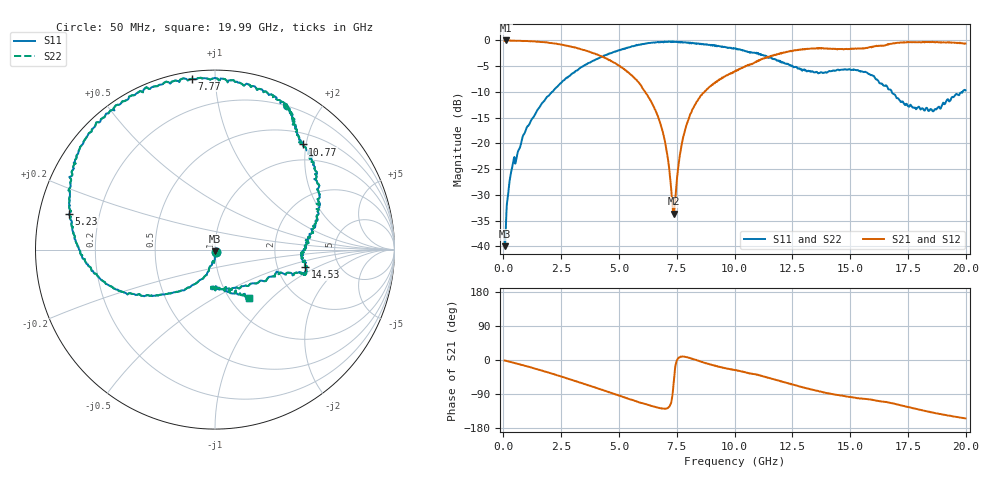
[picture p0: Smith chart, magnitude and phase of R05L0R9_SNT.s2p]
! 250R05L0R9CV4
! Data taken January 31, 2003
! Data taken on a HP 8720C VNA using a shunt-through test fixture and TRL* de-embedding
#	mhz	s	ma	r	50
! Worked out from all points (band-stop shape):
!   998 points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, 50 MHz to 19.99 GHz, reference 50 ohm
!   highest |S21| = 0.00 dB at 110 MHz (marker M1); lowest = -33.7 dB at 7.37 GHz (marker M2)
!   |S21| within 3 dB of the highest: start of sweep to 4.179 GHz; 11.59 GHz to end of sweep
!   lowest |S11| = -40.0 dB at 70 MHz (marker M3), VSWR 1.02, Z = 49.8 - j0.98 ohm
!   |S11| at or under -10 dB: start of sweep to 2.103 GHz; 16.81 GHz to 19.87 GHz (3.061 GHz wide, 16.7 % of centre)
!   |S22| runs from -40.0 to -0.2 dB; largest |S21 - S12| = 0
!   S11 on the Smith chart (normalised r, x): 50 MHz: 1.01, -0.02; 5.23 GHz: 0.09, +0.12; 7.77 GHz: 0.04, +0.87; 10.77 GHz: 0.69, +1.93; 14.53 GHz: 2.87, -0.76; 19.99 GHz: 1.23, -0.74
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50  0.01217 -72.9  0.9909 -1.3  0.9909 -1.3  0.01217 -72.9
70  0.01002 -101.1  0.9942 -1.5  0.9942 -1.5  0.01002 -101.1
110  0.01715 -91.0  1 -2.1  1 -2.1  0.01715 -91.0
390  0.0604 -93.1  0.9965 -6.7  0.9965 -6.7  0.0604 -93.1
970  0.1347 -108.2  0.9876 -15.8  0.9876 -15.8  0.1347 -108.2
1870  0.2805 -126.9  0.9559 -31.7  0.9559 -31.7  0.2805 -126.9
3390  0.5525 -154.0  0.8179 -61.0  0.8179 -61.0  0.5525 -154.0
5230  0.8362 166.2  0.5271 -98.5  0.5271 -98.5  0.8362 166.2
6710  0.9593 132.3  0.1761 -126.1  0.1761 -126.1  0.9593 132.3
7050  0.9744 121.9  0.08885 -128.2  0.08885 -128.2  0.9744 121.9
7370  0.9657 112.1  0.02067 -55.1  0.02067 -55.1  0.9657 112.1
7770  0.9609 97.6  0.113 9.0  0.113 9.0  0.9609 97.6
8150  0.9456 85.4  0.2068 4.3  0.2068 4.3  0.9456 85.4
8750  0.9175 69.2  0.3247 -8.6  0.3247 -8.6  0.9175 69.2
10030  0.8346 58.4  0.502 -26.6  0.502 -26.6  0.8346 58.4
10770  0.7624 50.2  0.5954 -36.4  0.5954 -36.4  0.7624 50.2
11910  0.6383 23.8  0.742 -54.4  0.742 -54.4  0.6383 23.8
13350  0.502 -0.2  0.8354 -78.6  0.8354 -78.6  0.502 -0.2
14530  0.5122 -11.0  0.8242 -92.6  0.8242 -92.6  0.5122 -11.0
16670  0.3341 -28.5  0.916 -112.2  0.916 -112.2  0.3341 -28.5
18210  0.2087 -94.6  0.9627 -134.0  0.9627 -134.0  0.2087 -94.6
19990  0.3281 -54.5  0.9334 -154.1  0.9334 -154.1  0.3281 -54.5
